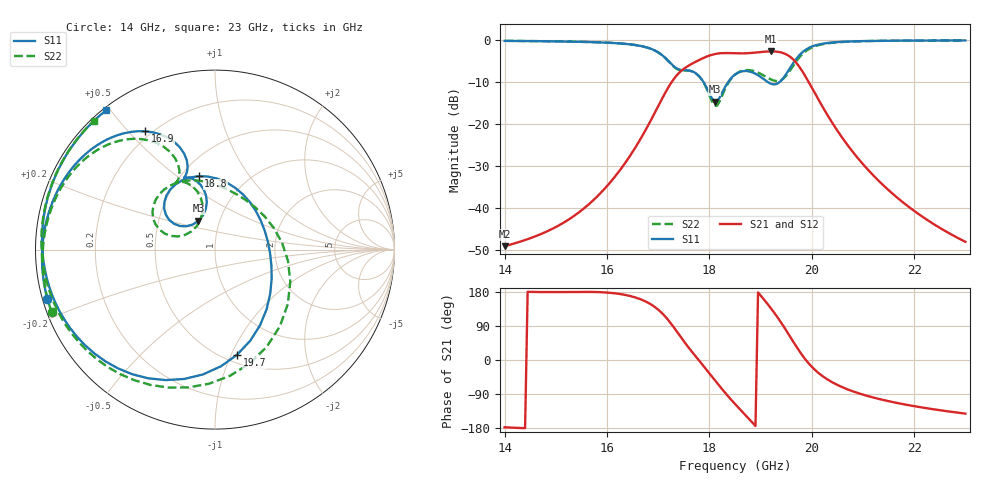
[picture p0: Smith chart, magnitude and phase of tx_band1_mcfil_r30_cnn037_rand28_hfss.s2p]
! Touchstone file exported from HFSS 3D Layout Design 2026.1.0
!  File:  D:/Work/SIM/ADS_AUTO_SIM/projects/RFSOC_RF/TX_Fillter.aedt
!  Generated:  02:29:30 AM Aug 31, 2026
!  Design:  TX_BAND1_MCFIL_R30_CNN037
!  Project:  TX_Fillter
# GHz S MA R 50.000000
! Terminal data exported
! Port[1] = Port1
! Port[2] = Port2
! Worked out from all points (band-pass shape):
!   181 points, 14 GHz to 23 GHz, reference 50 ohm
!   highest |S21| = -2.72 dB at 19.2 GHz (marker M1); lowest = -49.0 dB at 14 GHz (marker M2)
!   |S21| within 3 dB of the highest: 17.65 GHz to 19.72 GHz (2.066 GHz wide, 11.1 % of centre)
!   lowest |S11| = -14.7 dB at 18.1 GHz (marker M3), VSWR 1.45, Z = 39.6 + j13.2 ohm
!   |S11| at or under -10 dB: 17.88 GHz to 18.37 GHz (483.9 MHz wide, 2.67 % of centre); 19.14 GHz to 19.37 GHz (232.5 MHz wide, 1.21 % of centre)
!   |S22| runs from -15.6 to -0.1 dB; largest |S21 - S12| = 1.4e-14
!   S11 on the Smith chart (normalised r, x): 14 GHz: 0.01, -0.15; 16.9 GHz: 0.17, +0.56; 18.8 GHz: 0.61, +0.60; 19.7 GHz: 0.58, -1.05; 23 GHz: 0.01, +0.49
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14  0.974 -163.4  0.003541 -177.5  0.003541 -177.5  0.9749 -159.1
15.5  0.9487 167.4  0.009409 179.8  0.009409 179.8  0.9501 172.4
16.3  0.9032 145.7  0.03099 173.1  0.03099 173.1  0.9046 151.1
16.9  0.7657 120.6  0.1244 143.0  0.1244 143.0  0.7649 126.2
17  0.7118 115.5  0.1631 132.8  0.1631 132.8  0.7098 121.1
17.25  0.523 107.5  0.307 96.1  0.307 96.1  0.517 113.4
17.5  0.4367 113.3  0.4536 49.6  0.4536 49.6  0.4325 120.2
17.85  0.3402 100.6  0.597 -10.1  0.597 -10.1  0.337 106.8
18.1  0.1849 119.9  0.6775 -52.2  0.6775 -52.2  0.1654 127.5
18.3  0.2708 147.8  0.698 -85.4  0.698 -85.4  0.2571 162.8
18.5  0.3876 136.6  0.693 -116.0  0.693 -116.0  0.3856 153.2
18.8  0.4191 102.6  0.6985 -159.3  0.6985 -159.3  0.4357 125.2
19  0.3633 72.4  0.7177 170.3  0.7177 170.3  0.3951 103.5
19.2  0.3019 32.2  0.7307 136.7  0.7307 136.7  0.3394 76.5
19.45  0.3559 -27.6  0.6947 88.6  0.6947 88.6  0.349 20.3
19.7  0.5986 -78.1  0.5317 35.2  0.5317 35.2  0.5603 -49.9
19.85  0.7408 -103.3  0.3916 5.9  0.3916 5.9  0.7086 -83.3
20  0.8334 -123.6  0.2713 -17.9  0.2713 -17.9  0.8109 -108.6
20.25  0.9095 -147.8  0.1459 -46.3  0.1459 -46.3  0.898 -137.2
20.55  0.9462 -167.2  0.07521 -69.0  0.07521 -69.0  0.9409 -158.9
21.5  0.9777 158.4  0.01639 -108.7  0.01639 -108.7  0.9769 164.5
23  0.985 128.0  0.003989 -141.5  0.003989 -141.5  0.9851 133.3
